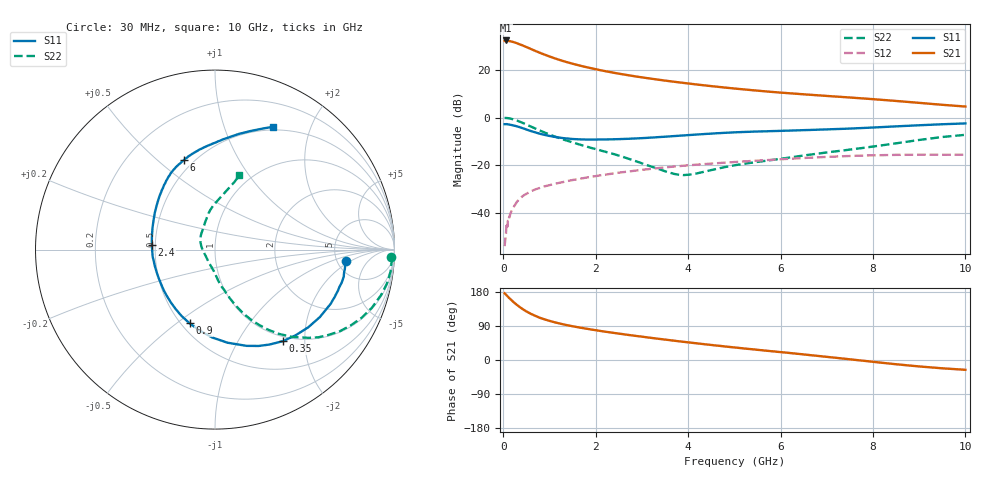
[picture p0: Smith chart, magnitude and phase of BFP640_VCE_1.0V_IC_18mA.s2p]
! Infineon Technologies  Discrete & RF Semiconductors
! BFP640
! VCE =  1.0 V,  IC =  18 mA
! Common Emitter S-Parameters:  Apr 2013
# GHz  S  MA  R  50
!  f  S11  S21  S12  S22
! GHz  MAG  ANG  MAG  ANG  MAG  ANG  MAG  ANG
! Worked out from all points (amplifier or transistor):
!   99 points, 30 MHz to 10 GHz, reference 50 ohm
!   highest |S21| = 32.4 dB at 60 MHz (marker M1)
!   |S21| within 3 dB of that: start of sweep to 529.3 MHz
!   unconditionally stable (mu >= 1): 2.913 GHz to end of sweep
!   at 350 MHz: K = 0.24, MSG = 32.5 dB, |S12| = -34.2 dB
!   at 3.5 GHz: K = 1.03, MAG = 17.2 dB, |S12| = -20.9 dB
!   at 10 GHz: K = 1.08, MAG = 8.4 dB, |S12| = -15.6 dB
!   S11 on the Smith chart (normalised r, x): 30 MHz: 5.94, -1.65; 350 MHz: 0.92, -1.58; 900 MHz: 0.55, -0.56; 2.4 GHz: 0.48, +0.03; 6 GHz: 0.44, +0.62; 10 GHz: 0.46, +1.48
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0.03  0.73 -5.1  41.06 176.1  0.002 92.7  0.984 -2.5
0.06  0.7304 -10.2  41.91 172.1  0.0037 72.3  0.9845 -5.9
0.12  0.7186 -20.3  40.85 164.6  0.0073 85.8  0.9714 -12.3
0.2  0.6946 -32.8  39.31 155.4  0.0121 77.2  0.9325 -20.3
0.3  0.6554 -46.8  36.61 145.1  0.0173 70.6  0.8663 -29.2
0.35  0.6349 -53.5  34.88 140.5  0.0195 69.0  0.8309 -33.2
0.45  0.5895 -65.6  31.99 132.1  0.0236 63.7  0.7563 -40.2
0.6  0.5236 -82.3  27.71 121.7  0.0285 59.8  0.6498 -48.5
0.7  0.4897 -91.9  25.14 116.2  0.0313 57.5  0.5895 -52.8
0.8  0.4579 -101.1  22.95 111.1  0.0337 55.7  0.5334 -56.6
0.9  0.4341 -109.1  21.03 107.0  0.0363 54.3  0.4855 -59.7
1  0.4142 -116.7  19.32 103.3  0.0382 53.4  0.4447 -62.5
1.2  0.3834 -130.0  16.57 96.9  0.0425 52.0  0.3765 -66.8
1.4  0.3645 -141.6  14.48 91.5  0.0469 51.1  0.3246 -70.2
1.7  0.3495 -156.8  12.14 84.7  0.053 49.5  0.2642 -74.2
2.4  0.3522 176.1  8.761 71.4  0.0678 45.8  0.1713 -84.4
3.4  0.3931 148.6  6.203 55.4  0.0884 38.4  0.0813 -114.0
5.1  0.4962 118.7  4.016 31.9  0.1187 24.3  0.1036 141.7
6  0.5284 108.9  3.368 20.8  0.1338 17.0  0.1372 118.3
6.7  0.5552 101.3  3.004 12.1  0.1454 10.6  0.1705 107.4
8.5  0.6573 78.5  2.248 -11.2  0.1655 -7.5  0.2893 84.5
10  0.7574 64.6  1.714 -25.9  0.1663 -19.0  0.4367 71.8
